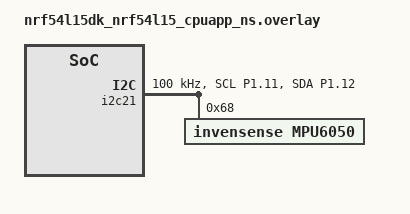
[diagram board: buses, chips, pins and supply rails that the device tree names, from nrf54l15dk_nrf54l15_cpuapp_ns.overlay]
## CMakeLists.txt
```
cmake_minimum_required(VERSION 3.20.0)
find_package(Zephyr REQUIRED HINTS $ENV{ZEPHYR_BASE})

project(sample_node_proj)

# Application sources
target_sources(app PRIVATE src/main.c)

# Add all libraries under lib/
add_subdirectory(lib)
```

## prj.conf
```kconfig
CONFIG_I2C=y
CONFIG_SENSOR=y
CONFIG_MPU6050_TRIGGER_NONE=y
CONFIG_CBPRINTF_FP_SUPPORT=y

CONFIG_LOG=y
CONFIG_LOG_DEFAULT_LEVEL=1
CONFIG_SENSOR_LOG_LEVEL_DBG=y
CONFIG_I2C_LOG_LEVEL_DBG=y

CONFIG_TRUSTED_EXECUTION_NONSECURE=y
CONFIG_BUILD_WITH_TFM=y

CONFIG_EARLY_CONSOLE=y
CONFIG_LOG_MODE_IMMEDIATE=y
CONFIG_TFM_SECURE_UART0=y

# BLE peripheral with secure pairing and packet streaming support
CONFIG_BT=y
CONFIG_BT_PERIPHERAL=y
CONFIG_BT_DEVICE_NAME="FH07_Node"
CONFIG_BT_MAX_CONN=1
CONFIG_BT_MAX_PAIRED=4
CONFIG_BT_SMP=y
CONFIG_BT_SIGNING=y
CONFIG_BT_BONDABLE=y
CONFIG_BT_SMP_SC_PAIR_ONLY=y
CONFIG_BT_PRIVACY=y
CONFIG_BT_GATT_SERVICE_CHANGED=y
CONFIG_SETTINGS=y
CONFIG_BT_SETTINGS=y
```

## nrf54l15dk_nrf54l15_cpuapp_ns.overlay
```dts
// To get started, press Ctrl+Space to bring up the completion menu and view the available nodes.

// You can also use the buttons in the sidebar to perform actions on nodes.
// Actions currently available include:

// * Enabling / disabling the node
// * Adding the bus to a bus
// * Removing the node
// * Connecting ADC channels

// For more help, browse the DeviceTree documentation at https: //docs.zephyrproject.org/latest/guides/dts/index.html
// You can also visit the nRF DeviceTree extension documentation at https: //docs.nordicsemi.com/bundle/nrf-connect-vscode/page/guides/ncs_configure_app.html#devicetree-support-in-the-extension

&i2c21 {
    status = "okay";
    pinctrl-0 = <&i2c21_default>;
    pinctrl-1 = <&i2c21_sleep>;
    pinctrl-names = "default", "sleep";
    mpu6050: mpu6050@68 {
        compatible = "invensense,mpu6050";
        reg = <0x68>;
        status = "okay";
    };

    clock-frequency = <I2C_BITRATE_STANDARD>;
};

&pinctrl {
    /omit-if-no-ref/ i2c21_default: i2c21_default {
        group1  {
            psels = <NRF_PSEL(TWIM_SCL, 1, 11)>,
                    <NRF_PSEL(TWIM_SDA, 1, 12)>;
        };
    };

    /omit-if-no-ref/ i2c21_sleep: i2c21_sleep {
        group1  {
            psels = <NRF_PSEL(TWIM_SCL, 1, 11)>,
                    <NRF_PSEL(TWIM_SDA, 1, 12)>;
            low-power-enable;
        };
    };
};
```

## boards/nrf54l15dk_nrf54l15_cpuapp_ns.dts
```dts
&i2c21 {
    status = "okay";
    pinctrl-0 = <&i2c21_default>;
    pinctrl-1 = <&i2c21_sleep>;
    pinctrl-names = "default", "sleep";
    mpu6050: mpu6050@68 {compatible = "invensense,mpu6050";
        reg = <0x68>; status = "okay";
        int-gpios = <&gpio0 1 GPIO_ACTIVE_HIGH>; smplrt-div = <249>;
    };
    clock-frequency = <I2C_BITRATE_STANDARD>;
};


&pinctrl {
    /omit-if-no-ref/ i2c21_default: i2c21_default {
        group1 { psels = <NRF_PSEL(TWIM_SCL, 1, 11)>, <NRF_PSEL(TWIM_SDA, 1, 12)>; };
    };
    /omit-if-no-ref/ i2c21_sleep: i2c21_sleep {
        group1 { psels = <NRF_PSEL(TWIM_SCL, 1, 11)>, <NRF_PSEL(TWIM_SDA, 1, 12)>; low-power-enable; };
    };
};
```

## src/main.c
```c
/*
 * Copyright (c) 2019 Nordic Semiconductor ASA
 *
 * SPDX-License-Identifier: Apache-2.0
 */

#include <zephyr/kernel.h>
#include <zephyr/device.h>
#include <zephyr/drivers/sensor.h>
#include <errno.h>
#include <stdint.h>
#include <stdio.h>

#include <ble.h>

static const char *now_str(void) {
  static char buf[16]; /* ...HH:MM:SS.MMM */
  uint32_t now = k_uptime_get_32();
  unsigned int ms = now % MSEC_PER_SEC;
  unsigned int s;
  unsigned int min;
  unsigned int h;

  now /= MSEC_PER_SEC;
  s = now % 60U;
  now /= 60U;
  min = now % 60U;
  now /= 60U;
  h = now;

  snprintf(buf, sizeof(buf), "%u:%02u:%02u.%03u", h, min, s, ms);
  return buf;
}

static int process_mpu6050(const struct device *dev) {
  struct sensor_value temperature;
  struct sensor_value accel[3];
  struct sensor_value gyro[3];
  int rc = sensor_sample_fetch(dev);

  if (rc == 0) {
    rc = sensor_channel_get(dev, SENSOR_CHAN_ACCEL_XYZ, accel);
  }
  if (rc == 0) {
    rc = sensor_channel_get(dev, SENSOR_CHAN_GYRO_XYZ, gyro);
  }
  if (rc == 0) {
    rc = sensor_channel_get(dev, SENSOR_CHAN_DIE_TEMP, &temperature);
  }
  if (rc == 0) {
    // printf("[%s]:%g Cel\n"
    //        "  accel %f %f %f m/s/s\n"
    //        "  gyro  %f %f %f rad/s\n",
    //        now_str(), sensor_value_to_double(&temperature),
    //        sensor_value_to_double(&accel[0]),
    //        sensor_value_to_double(&accel[1]),
    //        sensor_value_to_double(&accel[2]),
    //        sensor_value_to_double(&gyro[0]),
    //        sensor_value_to_double(&gyro[1]),
    //        sensor_value_to_double(&gyro[2]));
    const float gyro_x = (float)sensor_value_to_double(&gyro[0]);
    int ble_err;

    printf("%f\n", sensor_value_to_double(&gyro[0]));
    ble_err = ble_send_packet((const uint8_t *)&gyro_x, sizeof(gyro_x));
    if (ble_err != 0 && ble_err != -ENOTCONN && ble_err != -EACCES) {
      printf("BLE send failed: %d\n", ble_err);
    }
  } else {
    printf("sample fetch/get failed: %d\n", rc);
  }

  return rc;
}

#ifdef CONFIG_MPU6050_TRIGGER
static struct sensor_trigger trigger;

static void handle_mpu6050_drdy(const struct device *dev,
                                const struct sensor_trigger *trig) {
  int rc = process_mpu6050(dev);

  if (rc != 0) {
    printf("cancelling trigger due to failure: %d\n", rc);
    (void)sensor_trigger_set(dev, trig, NULL);
    return;
  }
}
#endif /* CONFIG_MPU6050_TRIGGER */

int main(void) {
  const struct device *const mpu6050 = DEVICE_DT_GET_ONE(invensense_mpu6050);
  const struct ble_config ble_cfg = {
      .device_name = "FH07_Node",
      .min_security_level = BLE_SECURITY_L2,
      .rx_callback = NULL,
  };
  int ble_err;

  printk("STARTING NON SECURE PARTITION\n");

  ble_err = ble_init(&ble_cfg);
  if (ble_err != 0) {
    printf("BLE init failed: %d\n", ble_err);
    return 0;
  }

  ble_err = ble_enter_pairing_mode();
  if (ble_err != 0) {
    printf("BLE pairing mode failed: %d\n", ble_err);
    return 0;
  }
  if (!device_is_ready(mpu6050)) {
    printf("Device %s is not ready\n", mpu6050->name);
    return 0;
  }

#ifdef CONFIG_MPU6050_TRIGGER
  trigger = (struct sensor_trigger){
      .type = SENSOR_TRIG_DATA_READY,
      .chan = SENSOR_CHAN_ALL,
  };
  if (sensor_trigger_set(mpu6050, &trigger, handle_mpu6050_drdy) < 0) {
    printf("Cannot configure trigger\n");
    return 0;
  }
  printk("Configured for triggered sampling.\n");
#endif

  while (!IS_ENABLED(CONFIG_MPU6050_TRIGGER)) {
    int rc = process_mpu6050(mpu6050);

    if (rc != 0) {
      break;
    }
    k_sleep(K_MSEC(100));
  }

  /* triggered runs with its own thread after exit */
  return 0;
}
```
